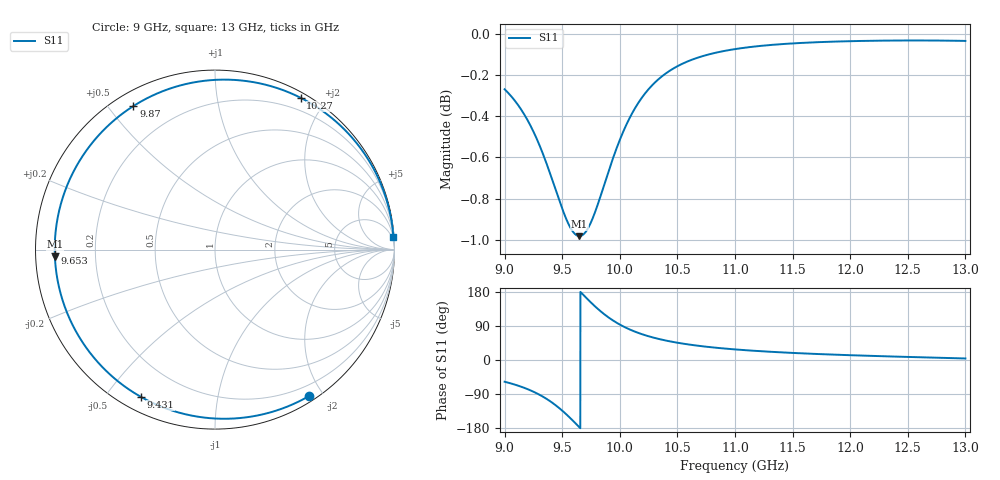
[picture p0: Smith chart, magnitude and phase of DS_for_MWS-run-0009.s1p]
! TOUCHSTONE file generated by CST DESIGN STUDIO
! Date and time: Tue Feb  4 18:46:48 2025
! Project name: C:\Work\MatlabApps\UnitCellOptimizationMatlab\CST\unitcell.cst
! Tree item: Tasks\Sweep1\SPara1\S-Parameters
! Header version: 2024
! Port assignment regex: !\s*Touchstone port\s*([0-9]+)\s*=\s*(CST MWS port|CST DES external port|CST DES block port)\s*(.+)\s* \(\"(.*)\"\)(\s*mode\s*([0-9]+))?.*
! Touchstone port assignment:
! Touchstone port 1 = CST DES external port 1 ("")
# GHz S MA R 50
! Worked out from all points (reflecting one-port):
!   4001 points, 9 GHz to 13 GHz, reference 50 ohm
!   lowest |S11| = -1.0 dB at 9.649 GHz (marker M1), VSWR 17.69, Z = 2.83 - j1.1 ohm
!   phase of S11 starts at -57 deg and turns -299 deg over the sweep
!   S11 on the Smith chart (normalised r, x): 9 GHz: 0.07, -1.83; 9.431 GHz: 0.06, -0.62; 9.653 GHz: 0.06, -0.01; 9.87 GHz: 0.06, +0.58; 10.27 GHz: 0.06, +1.71; 13 GHz: 2, +28
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9  0.9695 -57.4
9.11  0.9616 -67.0
9.219  0.9506 -79.4
9.336  0.9346 -97.4
9.385  0.9265 -106.7
9.431  0.9186 -116.6
9.5  0.9068 -133.6
9.539  0.9011 -144.3
9.58  0.8964 -156.2
9.615  0.8938 -166.9
9.649  0.893 -177.5
9.653  0.893 -178.7
9.698  0.8947 167.3
9.746  0.8995 152.7
9.809  0.909 134.9
9.87  0.92 119.6
9.932  0.9312 106.1
10  0.9424 93.5
10.131  0.9592 74.9
10.274  0.9712 60.5
10.38  0.9772 52.6
10.5  0.9821 45.6
10.719  0.9877 36.1
11  0.9915 27.9
11.5  0.9947 18.7
12  0.996 12.6
12.5  0.9964 8.1
13  0.9961 4.0
